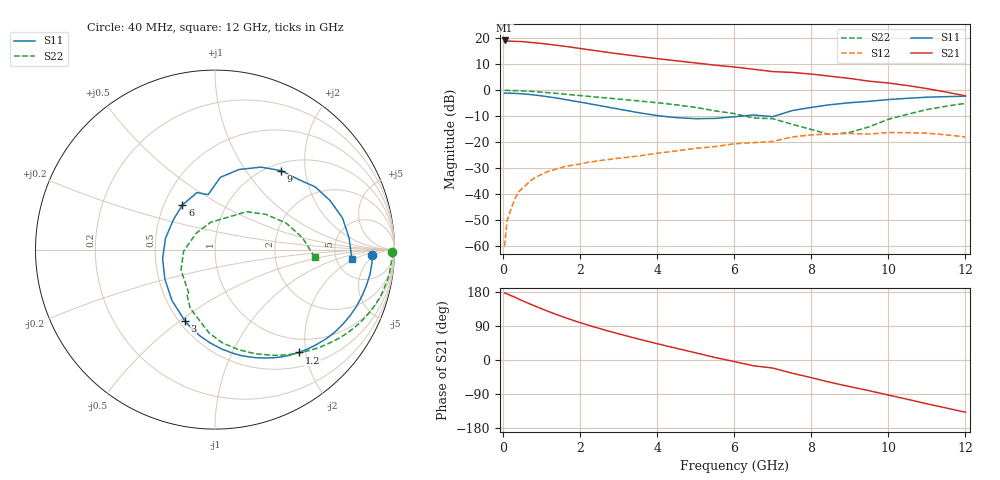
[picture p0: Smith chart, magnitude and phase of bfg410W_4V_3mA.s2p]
! Filename: 43bfg410.001
! BFG410W Field B1
! V1=8.374E-001V,V2=4.000E+000V, I1=3.483E-005A, I2=3.000E-003A
# GHz  S  MA  R 50
!  S11  S21  S12  S22
!Freq(GHz)  Mag  Ang  Mag  Ang  Mag  Ang  Mag  Ang
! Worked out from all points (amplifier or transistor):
!   44 points, 40 MHz to 12 GHz, reference 50 ohm
!   highest |S21| = 19.1 dB at 40 MHz (marker M1)
!   |S21| within 3 dB of that: start of sweep to 1.958 GHz
!   unconditionally stable (mu >= 1): 3.041 GHz to end of sweep
!   at 700 MHz: K = 0.26, MSG = 26.6 dB, |S12| = -34.9 dB
!   at 2.4 GHz: K = 0.79, MSG = 21.3 dB, |S12| = -27.3 dB
!   at 12 GHz: K = 1.72, MAG = 3.0 dB, |S12| = -18.0 dB
!   S11 on the Smith chart (normalised r, x): 40 MHz: 14, -4; 1.2 GHz: 0.74, -1.88; 3 GHz: 0.53, -0.52; 6 GHz: 0.62, +0.34; 9 GHz: 1.13, +1.48; 12 GHz: 7.05, -1.71
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0.04  0.873 -2.0  9.025 176.9  0.001 55.3  0.989 -0.8
0.1  0.878 -4.4  8.801 174.7  0.003 74.7  0.989 -2.5
0.2  0.875 -8.8  8.718 170.0  0.005 76.9  0.983 -5.3
0.4  0.859 -17.6  8.645 161.1  0.011 75.4  0.974 -10.6
0.6  0.837 -26.4  8.442 152.1  0.015 70.2  0.959 -15.5
0.9  0.794 -38.8  8.047 139.4  0.022 63.4  0.926 -22.7
1.2  0.74 -50.7  7.594 127.2  0.028 57.2  0.889 -29.3
1.7  0.644 -69.3  6.812 108.7  0.035 48.6  0.824 -39.1
2.2  0.555 -86.2  6.027 92.3  0.041 42.4  0.762 -48.0
2.6  0.49 -99.5  5.476 80.3  0.045 38.6  0.717 -54.6
3  0.432 -112.8  4.993 69.1  0.049 35.6  0.674 -61.0
3.5  0.371 -130.4  4.479 55.8  0.054 32.1  0.622 -68.9
4.5  0.296 -170.4  3.668 30.9  0.068 24.1  0.522 -85.4
5.5  0.286 143.5  3.022 6.7  0.082 11.8  0.4 -103.1
6  0.308 126.1  2.786 -4.1  0.093 7.3  0.354 -113.1
6.5  0.333 107.6  2.52 -15.3  0.098 1.0  0.291 -122.7
7  0.309 97.1  2.274 -21.2  0.103 9.2  0.283 -121.2
7.5  0.404 85.7  2.192 -34.7  0.126 -6.8  0.221 -148.9
8.5  0.526 60.9  1.851 -59.1  0.144 -30.4  0.139 138.2
9  0.573 50.2  1.676 -70.2  0.147 -40.3  0.154 98.7
10.5  0.697 23.0  1.224 -103.7  0.152 -71.5  0.344 34.9
12  0.764 -3.8  0.777 -137.8  0.126 -111.8  0.557 -4.3
